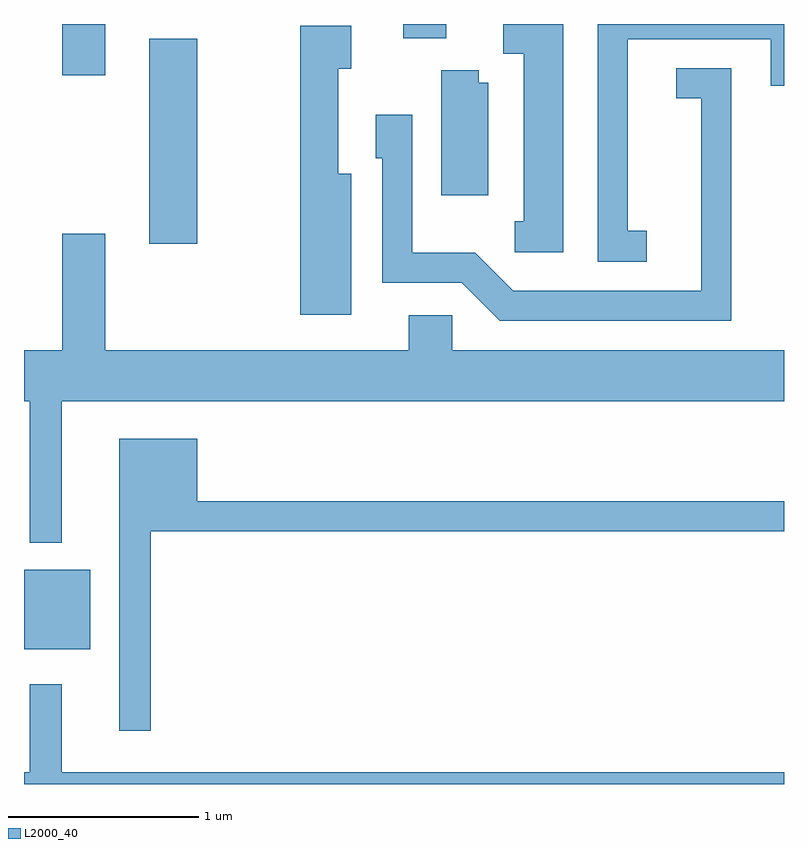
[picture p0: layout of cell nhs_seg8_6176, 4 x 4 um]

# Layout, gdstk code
import gdstk
lib = gdstk.Library(unit=1e-6, precision=1e-09)
def R(c, l, rs):  # rectangles x0, y0, x1, y1
    for r in rs: c.add(gdstk.rectangle(r[:2], r[2:], *l))
def P(c, l, *ps):  # polygons
    for p in ps: c.add(gdstk.Polygon(p, *l))
L2000_40 = (2000, 40)

nhs_seg8_6176 = lib.new_cell('nhs_seg8_6176')
R(nhs_seg8_6176, L2000_40, [(369.611,1895.051,369.959,1895.469), (370.271,1897.186,370.524,1898.264), (369.811,1898.071,370.039,1898.342), (371.606,1898.266,371.834,1898.342)])
P(nhs_seg8_6176, L2000_40, [(372.888,1897.254),(372.789,1897.254),(372.789,1898.261),(373.541,1898.261),(373.541,1898.016),(373.611,1898.016),(373.611,1898.342),(372.631,1898.342),(372.631,1897.091),(372.888,1897.091)],
  [(372.449,1898.342),(372.133,1898.342),(372.133,1898.186),(372.241,1898.186),(372.241,1897.304),(372.193,1897.304),(372.193,1897.141),(372.449,1897.141)],
  [(371.334,1897.554),(371.264,1897.554),(371.264,1898.106),(371.334,1898.106),(371.334,1898.334),(371.066,1898.334),(371.066,1896.811),(371.334,1896.811)],
  [(373.334,1898.109),(373.043,1898.109),(373.043,1897.951),(373.176,1897.951),(373.176,1896.939),(372.187,1896.939),(371.987,1897.139),(371.654,1897.139),(371.654,1897.864),(371.461,1897.864),(371.461,1897.636),(371.496,1897.636),(371.496,1896.981),(371.914,1896.981),(372.114,1896.781),(373.334,1896.781)],
  [(372.054,1898.034),(372.004,1898.034),(372.004,1898.099),(371.806,1898.099),(371.806,1897.441),(372.054,1897.441)],
  [(369.809,1896.356),(373.611,1896.356),(373.611,1896.624),(371.864,1896.624),(371.864,1896.809),(371.636,1896.809),(371.636,1896.624),(370.039,1896.624),(370.039,1897.239),(369.811,1897.239),(369.811,1896.624),(369.611,1896.624),(369.611,1896.356),(369.641,1896.356),(369.641,1895.613),(369.809,1895.613)],
  [(370.279,1895.671),(373.611,1895.671),(373.611,1895.829),(370.524,1895.829),(370.524,1896.159),(370.111,1896.159),(370.111,1894.623),(370.279,1894.623)],
  [(373.611,1894.404),(369.809,1894.404),(369.809,1894.868),(369.641,1894.868),(369.641,1894.404),(369.611,1894.404),(369.611,1894.342),(373.611,1894.342)])

lib.write_gds('nhs_seg8_6176.gds')
